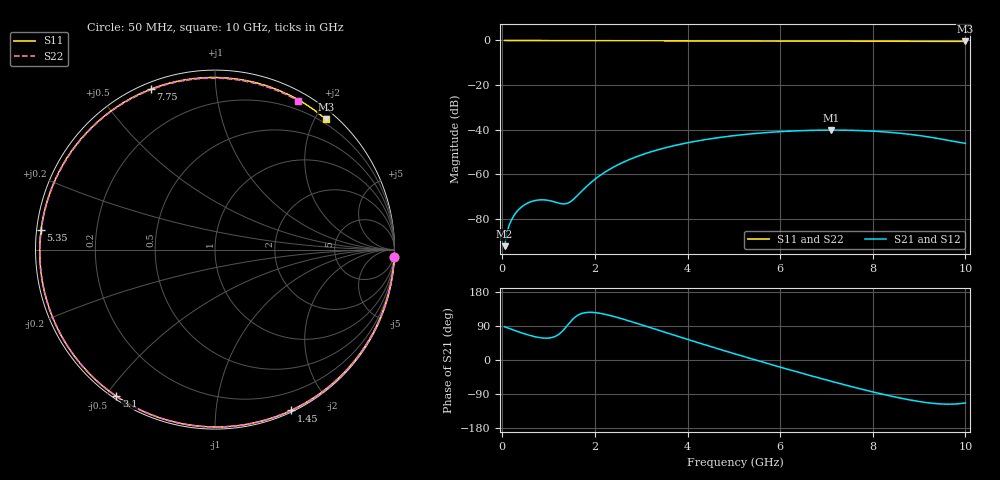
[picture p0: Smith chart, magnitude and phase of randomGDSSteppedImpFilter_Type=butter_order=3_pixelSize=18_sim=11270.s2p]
! freq	dB(S11)	phase(S11)	dB(S12)	phase(S12)
!  dB(S21)	phase(S21)	dB(S22)	phase(S22)
!S-par simulation data
#  GHz  S  DB  R 50
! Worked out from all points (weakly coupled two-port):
!   200 points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, 50 MHz to 10 GHz, reference 50 ohm
!   highest |S21| = -40.15 dB at 7.1 GHz (marker M1); lowest = -92.2 dB at 50 MHz (marker M2)
!   lowest |S11| = -0.4 dB at 10 GHz (marker M3), VSWR 41.82, Z = 6.79 + j108 ohm
!   |S11| at or under -10 dB: nowhere
!   |S22| runs from -0.4 to 0.0 dB; largest |S21 - S12| = 0
!   S11 on the Smith chart (normalised r, x): 50 MHz: 0, -49; 1.45 GHz: 0.02, -1.58; 3.1 GHz: 0.01, -0.53; 5.35 GHz: 0.01, +0.06; 7.75 GHz: 0.03, +0.68; 10 GHz: 0.14, +2.16
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0.05  -0.00 -2.4  -92.15 87.7  -92.15 87.7  -0.00 -2.3
0.2  -0.01 -9.4  -80.29 80.9  -80.29 80.9  -0.01 -9.2
0.4  -0.03 -18.6  -74.86 72.3  -74.86 72.3  -0.03 -18.3
0.7  -0.04 -32.3  -71.74 61.6  -71.74 61.6  -0.04 -31.7
0.95  -0.05 -43.4  -71.50 57.6  -71.50 57.6  -0.05 -42.6
1.3  -0.07 -58.4  -73.20 76.4  -73.20 76.4  -0.07 -57.3
1.45  -0.08 -64.7  -72.52 98.0  -72.52 98.0  -0.08 -63.4
1.75  -0.09 -76.7  -66.79 124.0  -66.79 124.0  -0.09 -75.1
2.05  -0.10 -88.1  -61.38 124.4  -61.38 124.4  -0.10 -86.3
2.35  -0.11 -99.0  -57.32 116.7  -57.32 116.7  -0.11 -97.0
3.1  -0.13 -123.9  -50.61 89.3  -50.61 89.3  -0.13 -121.3
3.4  -0.14 -133.2  -48.74 77.6  -48.74 77.6  -0.14 -130.3
4.2  -0.17 -156.1  -45.06 46.8  -45.06 46.8  -0.17 -152.5
5.05  -0.20 -178.8  -42.53 15.2  -42.53 15.2  -0.20 -174.3
5.35  -0.22 173.5  -41.89 4.3  -41.89 4.3  -0.21 178.3
6  -0.25 156.9  -40.85 -18.7  -40.85 -18.7  -0.25 162.5
6.7  -0.28 139.1  -40.25 -42.8  -40.25 -42.8  -0.28 145.7
7.1  -0.30 128.8  -40.15 -56.0  -40.15 -56.0  -0.30 135.9
7.75  -0.33 111.8  -40.39 -76.7  -40.39 -76.7  -0.34 119.9
8.35  -0.35 95.7  -41.12 -94.1  -41.12 -94.1  -0.37 104.7
9.15  -0.38 73.6  -43.04 -112.2  -43.04 -112.2  -0.41 83.7
10  -0.42 49.5  -46.09 -113.2  -46.09 -113.2  -0.45 60.7
